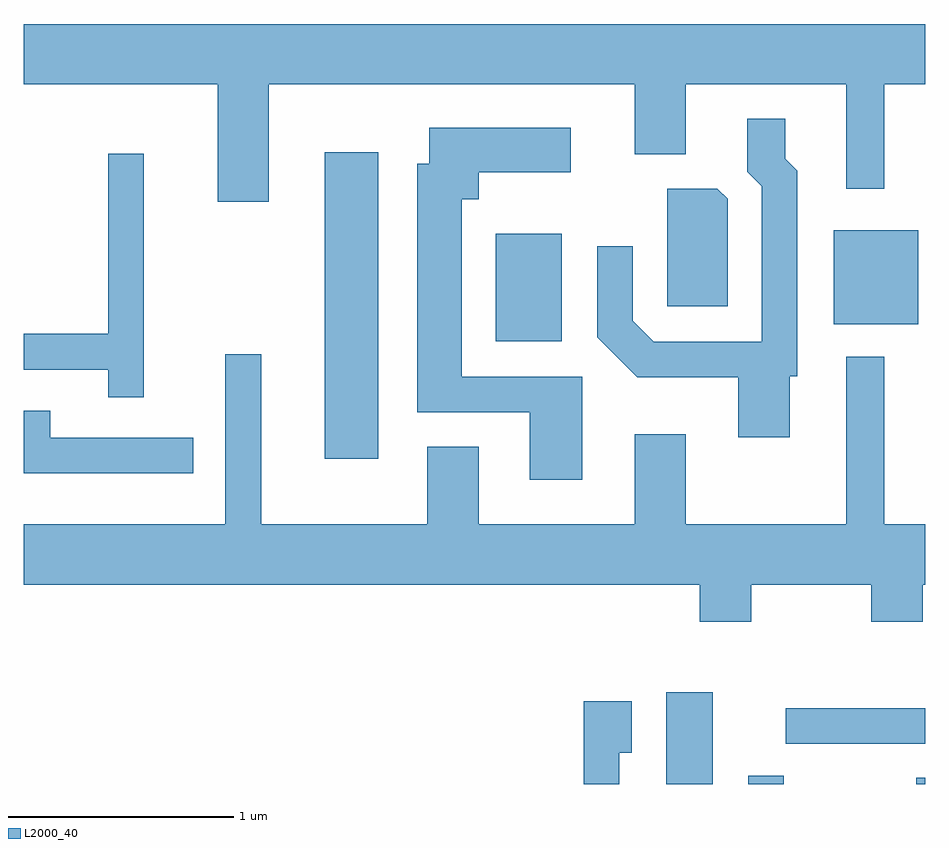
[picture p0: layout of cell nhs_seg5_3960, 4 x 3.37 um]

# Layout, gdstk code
import gdstk
lib = gdstk.Library(unit=1e-6, precision=1e-09)
def R(c, l, rs):  # rectangles x0, y0, x1, y1
    for r in rs: c.add(gdstk.rectangle(r[:2], r[2:], *l))
def P(c, l, *ps):  # polygons
    for p in ps: c.add(gdstk.Polygon(p, *l))
L2000_40 = (2000, 40)

nhs_seg5_3960 = lib.new_cell('nhs_seg5_3960')
R(nhs_seg5_3960, L2000_40, [(304.461,1518.072,304.669,1518.479), (304.826,1518.072,304.984,1518.108), (305.571,1518.072,305.611,1518.099), (304.993,1518.251,305.611,1518.409), (302.946,1519.516,303.184,1520.874), (303.706,1520.036,303.999,1520.514), (305.206,1520.111,305.579,1520.529)])
P(nhs_seg5_3960, L2000_40, [(302.699,1521.176),(304.321,1521.176),(304.321,1520.866),(304.549,1520.866),(304.549,1521.176),(305.261,1521.176),(305.261,1520.713),(305.429,1520.713),(305.429,1521.176),(305.611,1521.176),(305.611,1521.444),(301.611,1521.444),(301.611,1521.176),(302.471,1521.176),(302.471,1520.656),(302.699,1520.656)],
  [(305.009,1519.881),(305.044,1519.881),(305.044,1520.792),(304.989,1520.847),(304.989,1521.023),(304.821,1521.023),(304.821,1520.789),(304.886,1520.724),(304.886,1520.034),(304.407,1520.034),(304.314,1520.127),(304.314,1520.458),(304.156,1520.458),(304.156,1520.054),(304.334,1519.876),(304.781,1519.876),(304.781,1519.611),(305.009,1519.611)],
  [(304.089,1519.879),(303.554,1519.879),(303.554,1520.666),(303.629,1520.666),(303.629,1520.786),(304.039,1520.786),(304.039,1520.984),(303.411,1520.984),(303.411,1520.824),(303.356,1520.824),(303.356,1519.721),(303.856,1519.721),(303.856,1519.421),(304.089,1519.421)],
  [(302.144,1520.868),(301.986,1520.868),(301.986,1520.069),(301.611,1520.069),(301.611,1519.911),(301.986,1519.911),(301.986,1519.788),(302.144,1519.788)],
  [(304.734,1520.669),(304.689,1520.714),(304.466,1520.714),(304.466,1520.191),(304.734,1520.191)],
  [(304.839,1518.956),(305.371,1518.956),(305.371,1518.791),(305.599,1518.791),(305.599,1518.956),(305.611,1518.956),(305.611,1519.224),(305.429,1519.224),(305.429,1519.968),(305.261,1519.968),(305.261,1519.224),(304.549,1519.224),(304.549,1519.624),(304.321,1519.624),(304.321,1519.224),(303.629,1519.224),(303.629,1519.569),(303.401,1519.569),(303.401,1519.224),(302.664,1519.224),(302.664,1519.978),(302.506,1519.978),(302.506,1519.224),(301.611,1519.224),(301.611,1518.956),(304.611,1518.956),(304.611,1518.791),(304.839,1518.791)],
  [(302.363,1519.609),(301.729,1519.609),(301.729,1519.729),(301.611,1519.729),(301.611,1519.451),(302.363,1519.451)],
  [(304.254,1518.211),(304.309,1518.211),(304.309,1518.439),(304.096,1518.439),(304.096,1518.072),(304.254,1518.072)])

lib.write_gds('nhs_seg5_3960.gds')
